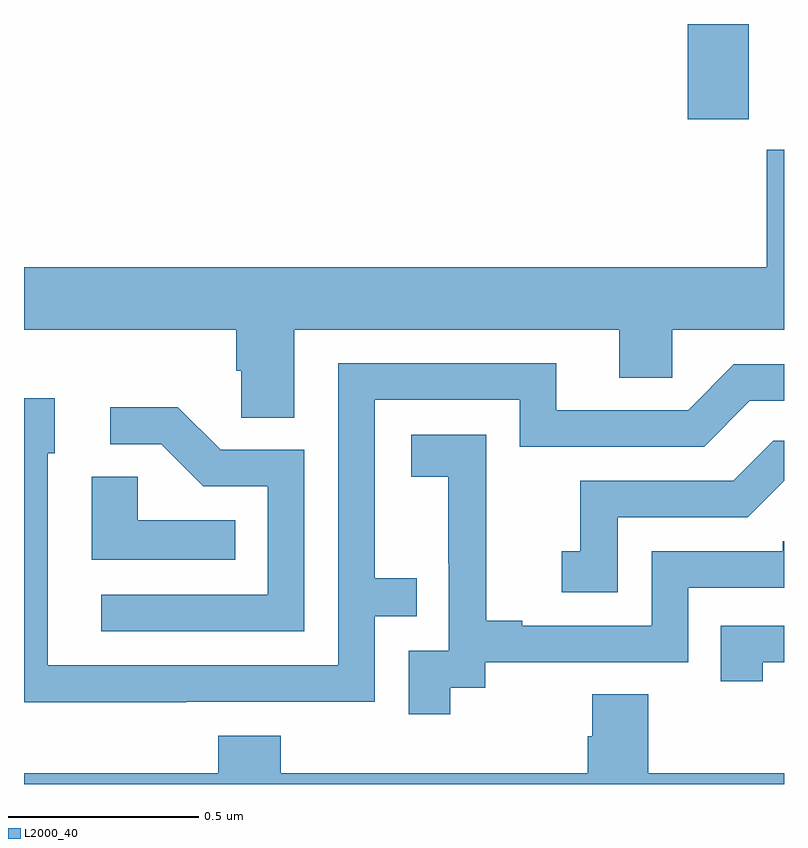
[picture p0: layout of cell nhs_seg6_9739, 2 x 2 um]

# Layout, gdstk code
import gdstk
lib = gdstk.Library(unit=1e-6, precision=1e-09)
def R(c, l, rs):  # rectangles x0, y0, x1, y1
    for r in rs: c.add(gdstk.rectangle(r[:2], r[2:], *l))
def P(c, l, *ps):  # polygons
    for p in ps: c.add(gdstk.Polygon(p, *l))
L2000_40 = (2000, 40)

nhs_seg6_9739 = lib.new_cell('nhs_seg6_9739')
R(nhs_seg6_9739, L2000_40, [(239.747,921.249,239.907,921.5)])
P(nhs_seg6_9739, L2000_40, [(238.711,920.696),(239.567,920.696),(239.567,920.569),(239.706,920.569),(239.706,920.696),(240,920.696),(240,921.169),(239.954,921.169),(239.954,920.86),(238,920.86),(238,920.696),(238.559,920.696),(238.559,920.587),(238.572,920.587),(238.572,920.464),(238.711,920.464)],
  [(238.427,919.716),(238.923,919.716),(238.923,919.941),(239.033,919.941),(239.033,920.042),(238.923,920.042),(238.923,920.511),(239.304,920.511),(239.304,920.388),(239.79,920.388),(239.91,920.508),(240,920.508),(240,920.604),(239.868,920.604),(239.748,920.484),(239.401,920.484),(239.401,920.607),(238.827,920.607),(238.827,919.812),(238.062,919.812),(238.062,920.37),(238.081,920.37),(238.081,920.515),(238,920.515),(238,919.715),(238.427,919.715)],
  [(238.737,920.379),(238.518,920.379),(238.405,920.492),(238.227,920.492),(238.227,920.394),(238.361,920.394),(238.472,920.283),(238.641,920.283),(238.641,919.998),(238.203,919.998),(238.203,919.902),(238.737,919.902)],
  [(239.122,919.753),(239.214,919.753),(239.214,919.821),(239.748,919.821),(239.748,920.016),(240,920.016),(240,920.139),(239.997,920.139),(239.997,920.112),(239.652,920.112),(239.652,919.917),(239.311,919.917),(239.311,919.93),(239.216,919.93),(239.216,920.213),(239.217,920.213),(239.217,920.419),(239.019,920.419),(239.019,920.309),(239.117,920.309),(239.117,920.081),(239.118,920.081),(239.118,919.851),(239.013,919.851),(239.013,919.683),(239.122,919.683)],
  [(239.562,920.202),(239.904,920.202),(240,920.298),(240,920.403),(239.972,920.403),(239.867,920.298),(239.464,920.298),(239.464,920.113),(239.415,920.113),(239.415,920.004),(239.562,920.004)],
  [(238.556,920.194),(238.299,920.194),(238.299,920.309),(238.178,920.309),(238.178,920.09),(238.556,920.09)],
  [(239.944,919.821),(240,919.821),(240,919.917),(239.833,919.917),(239.833,919.77),(239.944,919.77)],
  [(240,919.528),(239.643,919.528),(239.643,919.736),(239.495,919.736),(239.495,919.626),(239.483,919.626),(239.483,919.528),(238.676,919.528),(238.676,919.627),(238.511,919.627),(238.511,919.528),(238,919.528),(238,919.5),(240,919.5)])

lib.write_gds('nhs_seg6_9739.gds')
